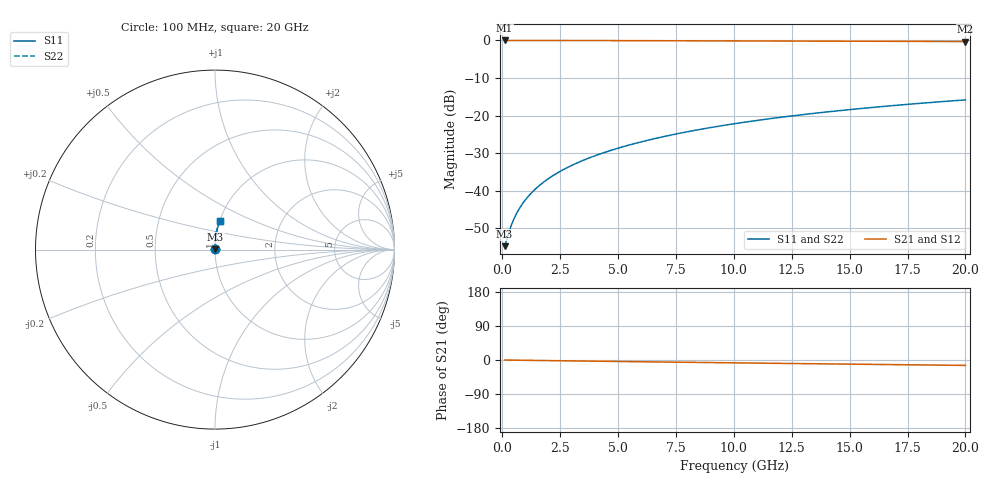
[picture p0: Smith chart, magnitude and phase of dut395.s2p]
! Touchstone file exported from HFSS 2024.1.0
!  File:  C:/UserFiles/LocalFiles/RDL_TSV_Batchsim/temp_RDL_bottom_395_1779614545.aedt
!  Generated:  05:25:03 PM May 24, 2026
!  Design:  RDL_bottom
!  Project:  temp_RDL_bottom_395_1779614545
!  Setup:  Setup1
!  Solution:  Sweep
! Variables:
!  dtsv = 10.80580581um
!  hbump = 3um
!  htsv = 76.85um
!  ldown = 166.27um
!  lrdl = 100um
!  p = 40
!  p1 = 45.88um
!  rhole = 1um
!  t = 450um
!  tdown = 2.18um
!  trdl = 3.915915916um
!  wdown = 21.48um
!  wrdl = 20um
# GHz S MA R 50.000000
! Terminal data exported
! Port[1] = RDL1_T1
! Port[2] = RDL1_T2
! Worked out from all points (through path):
!   200 points, 100 MHz to 20 GHz, reference 50 ohm
!   highest |S21| = -0.01 dB at 100 MHz (marker M1); lowest = -0.3 dB at 20 GHz (marker M2)
!   group delay of S21, straight-line fit = 1.97 ps
!   lowest |S11| = -54.8 dB at 100 MHz (marker M3), VSWR 1.00, Z = 50.2 + j0.0782 ohm
!   |S11| at or under -10 dB: start of sweep to end of sweep
!   |S22| runs from -54.8 to -15.8 dB; largest |S21 - S12| = 3.6e-15
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0.1  0.001822 25.3  0.9983 -0.1  0.9983 -0.1  0.001822 25.3
! Gamma 0 0 0 0
! Port Impedance 50 0 50 0
0.3  0.002876 53.3  0.9983 -0.3  0.9983 -0.3  0.002876 53.3
0.4  0.00352 60.0  0.9982 -0.3  0.9982 -0.3  0.00352 60.0
0.5  0.004183 64.4  0.9981 -0.4  0.9981 -0.4  0.004183 64.4
0.6  0.004854 67.7  0.9981 -0.5  0.9981 -0.5  0.004854 67.7
0.7  0.005526 70.1  0.998 -0.6  0.998 -0.6  0.005526 70.1
0.9  0.006878 73.8  0.9979 -0.7  0.9979 -0.7  0.006878 73.8
1.2  0.008921 77.4  0.9977 -1.0  0.9977 -1.0  0.008921 77.4
1.4  0.0103 79.1  0.9975 -1.1  0.9975 -1.1  0.0103 79.1
1.7  0.01238 81.0  0.9973 -1.4  0.9973 -1.4  0.01238 81.0
2.2  0.01591 83.2  0.9969 -1.8  0.9969 -1.8  0.01591 83.2
2.8  0.02022 85.0  0.9963 -2.2  0.9963 -2.2  0.02022 85.0
3.5  0.02536 86.3  0.9955 -2.8  0.9955 -2.8  0.02536 86.3
4.2  0.03061 87.1  0.9946 -3.3  0.9946 -3.3  0.03061 87.1
5  0.03675 87.7  0.9934 -3.9  0.9934 -3.9  0.03675 87.7
5.9  0.04382 88.0  0.992 -4.6  0.992 -4.6  0.04382 88.0
6.8  0.05105 88.1  0.9905 -5.2  0.9905 -5.2  0.05105 88.1
8.4  0.06419 87.7  0.9877 -6.4  0.9877 -6.4  0.06418 87.7
10.1  0.07843 86.9  0.9846 -7.6  0.9846 -7.6  0.07842 86.9
13.4  0.1064 84.8  0.9786 -9.9  0.9786 -9.9  0.1064 84.8
16.7  0.1342 82.3  0.9725 -12.1  0.9725 -12.1  0.1342 82.3
20  0.1615 79.8  0.9663 -14.3  0.9663 -14.3  0.1615 79.8
